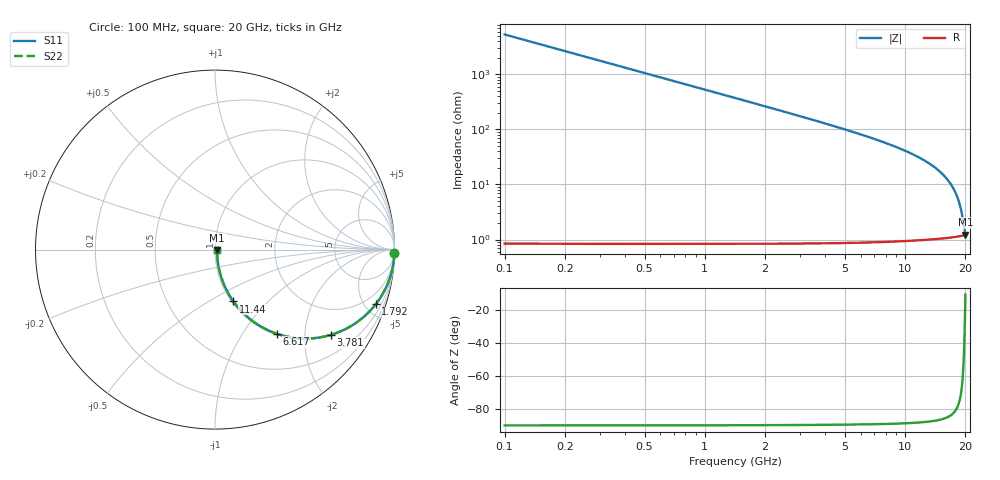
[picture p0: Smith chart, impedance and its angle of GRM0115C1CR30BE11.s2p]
!Murata Part Number: GRM0115C1CR30BE11
!These Parameters are Measured in Series Mode Connection
!Data Generated on Mar 30, 2021
!  o--ll--o
!Port1  Port2
!  o------o
!Operation Temp=25[degC], DC Bias Voltage=0[V]
!Freq. Start=100[MHz] Stop=20[GHz] 401[Steps]
# Hz S RI R 50
!Freq.(Hz) S11(Real) S11(Imag) S21(Real) S21(Imag) S12(Real) S12(Imag) S22(Real) S22(Imag)
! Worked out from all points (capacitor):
!   401 points, 100 MHz to 20 GHz, reference 50 ohm
!   read as one part in series: C = 300 fF near 199.5 MHz
!   lowest |Z| = 1.23 ohm at 20 GHz (marker M1)
!   S11 on the Smith chart (normalised r, x): 100 MHz: open; 1.792 GHz: 1.02, -5.88; 3.781 GHz: 1.02, -2.72; 6.617 GHz: 1.02, -1.45; 11.44 GHz: 1.02, -0.65; 20 GHz: 1.02, -0.00
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1e8  0.9996 -0.0188  0.000358 0.0188  0.000358 0.0188  0.9996 -0.0188
3.4875e8  0.9957 -0.0655  0.00434 0.0655  0.00434 0.0655  0.9957 -0.0655
4.98e8  0.9912 -0.0931  0.00882 0.0931  0.00882 0.0931  0.9912 -0.0931
6.4725e8  0.9852 -0.1203  0.0148 0.1203  0.0148 0.1203  0.9852 -0.1203
1.14475e9  0.9549 -0.2066  0.0451 0.2066  0.0451 0.2066  0.9549 -0.2066
1.7915e9  0.8956 -0.3043  0.1044 0.3043  0.1044 0.3043  0.8956 -0.3043
2.53775e9  0.8084 -0.3916  0.1916 0.3916  0.1916 0.3916  0.8084 -0.3916
3.43325e9  0.6926 -0.4586  0.3074 0.4586  0.3074 0.4586  0.6926 -0.4586
3.7815e9  0.6475 -0.4746  0.3525 0.4746  0.3525 0.4746  0.6475 -0.4746
5.02525e9  0.498 -0.4957  0.502 0.4957  0.502 0.4957  0.498 -0.4957
6.61725e9  0.3449 -0.4693  0.6551 0.4693  0.6551 0.4693  0.3449 -0.4693
6.7665e9  0.3329 -0.465  0.6671 0.465  0.6671 0.465  0.3329 -0.465
1.005e10  0.1477 -0.3435  0.8523 0.3435  0.8523 0.3435  0.1477 -0.3435
1.1443e10  0.1025 -0.2889  0.8975 0.2889  0.8975 0.2889  0.1025 -0.2889
1.338325e10  0.0598 -0.2166  0.9402 0.2166  0.9402 0.2166  0.0598 -0.2166
1.527375e10  0.0339 -0.151  0.9661 0.151  0.9661 0.151  0.0339 -0.151
1.67165e10  0.0217 -0.1039  0.9783 0.1039  0.9783 0.1039  0.0217 -0.1039
1.776125e10  0.0161 -0.0709  0.9839 0.0709  0.9839 0.0709  0.0161 -0.0709
1.8607e10  0.0133 -0.0448  0.9867 0.0448  0.9867 0.0448  0.0133 -0.0448
1.9204e10  0.0123 -0.0265  0.9877 0.0265  0.9877 0.0265  0.0123 -0.0265
1.985075e10  0.0119 -0.00682  0.9881 0.00682  0.9881 0.00682  0.0119 -0.00682
2e10  0.012 -0.00227  0.988 0.00227  0.988 0.00227  0.012 -0.00227
